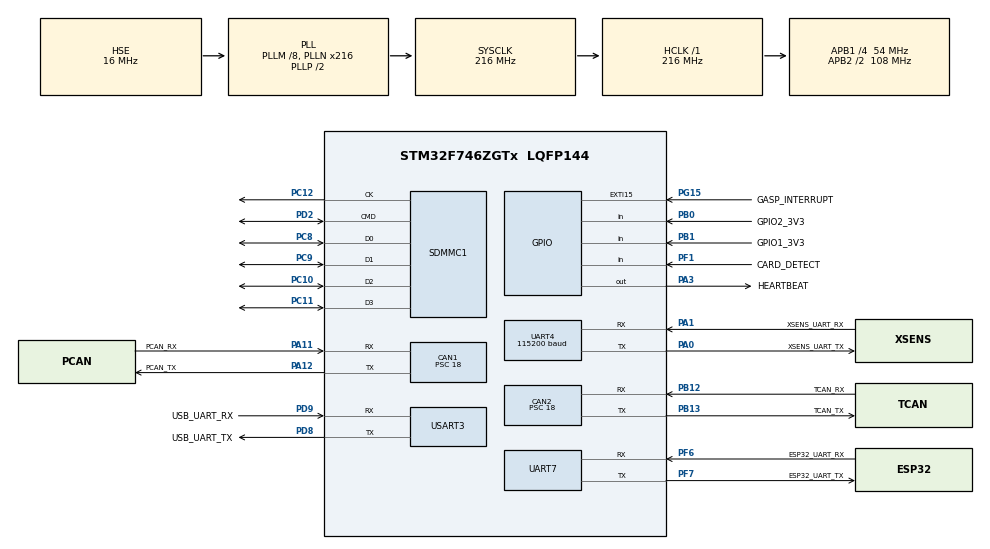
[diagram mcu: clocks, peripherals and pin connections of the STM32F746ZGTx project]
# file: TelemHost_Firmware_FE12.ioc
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CAN1.BS1=CAN_BS1_2TQ
CAN1.BS2=CAN_BS2_3TQ
CAN1.CalculateBaudRate=499999
CAN1.CalculateTimeBit=2000
CAN1.CalculateTimeQuantum=333.33333333333337
CAN1.Prescaler=18
CAN2.BS1=CAN_BS1_2TQ
CAN2.BS2=CAN_BS2_3TQ
CAN2.CalculateBaudRate=499999
CAN2.CalculateTimeBit=2000
CAN2.CalculateTimeQuantum=333.33333333333337
CAN2.Prescaler=18
Dma.Request0=SDMMC1_RX
Dma.Request1=SDMMC1_TX
Dma.Request2=UART4_RX
Dma.SDMMC1_RX.0.Direction=DMA_PERIPH_TO_MEMORY
Dma.SDMMC1_RX.0.FIFOMode=DMA_FIFOMODE_ENABLE
Dma.SDMMC1_RX.0.FIFOThreshold=DMA_FIFO_THRESHOLD_FULL
Dma.SDMMC1_RX.0.Instance=DMA2_Stream3
Dma.SDMMC1_RX.0.MemBurst=DMA_MBURST_INC4
Dma.SDMMC1_RX.0.MemDataAlignment=DMA_MDATAALIGN_WORD
Dma.SDMMC1_RX.0.MemInc=DMA_MINC_ENABLE
Dma.SDMMC1_RX.0.Mode=DMA_PFCTRL
Dma.SDMMC1_RX.0.PeriphBurst=DMA_PBURST_INC4
Dma.SDMMC1_RX.0.PeriphDataAlignment=DMA_PDATAALIGN_WORD
Dma.SDMMC1_RX.0.PeriphInc=DMA_PINC_DISABLE
Dma.SDMMC1_RX.0.Priority=DMA_PRIORITY_LOW
Dma.SDMMC1_TX.1.Direction=DMA_MEMORY_TO_PERIPH
Dma.SDMMC1_TX.1.FIFOMode=DMA_FIFOMODE_ENABLE
Dma.SDMMC1_TX.1.FIFOThreshold=DMA_FIFO_THRESHOLD_FULL
Dma.SDMMC1_TX.1.Instance=DMA2_Stream6
Dma.SDMMC1_TX.1.MemBurst=DMA_MBURST_INC4
Dma.SDMMC1_TX.1.MemDataAlignment=DMA_MDATAALIGN_WORD
Dma.SDMMC1_TX.1.MemInc=DMA_MINC_ENABLE
Dma.SDMMC1_TX.1.Mode=DMA_PFCTRL
Dma.SDMMC1_TX.1.PeriphBurst=DMA_PBURST_INC4
Dma.SDMMC1_TX.1.PeriphDataAlignment=DMA_PDATAALIGN_WORD
Dma.SDMMC1_TX.1.PeriphInc=DMA_PINC_DISABLE
Dma.SDMMC1_TX.1.Priority=DMA_PRIORITY_LOW
Dma.UART4_RX.2.Direction=DMA_PERIPH_TO_MEMORY
Dma.UART4_RX.2.FIFOMode=DMA_FIFOMODE_DISABLE
Dma.UART4_RX.2.Instance=DMA1_Stream2
Dma.UART4_RX.2.MemDataAlignment=DMA_MDATAALIGN_BYTE
Dma.UART4_RX.2.MemInc=DMA_MINC_ENABLE
Dma.UART4_RX.2.Mode=DMA_CIRCULAR
Dma.UART4_RX.2.PeriphDataAlignment=DMA_PDATAALIGN_BYTE
Dma.UART4_RX.2.PeriphInc=DMA_PINC_DISABLE
Dma.UART4_RX.2.Priority=DMA_PRIORITY_LOW
FATFS.BSP.number=1
FATFS.USE_DMA_CODE_SD=1
FATFS._MAX_SS=4096
FATFS._USE_LFN=0
FATFS0.BSP.STBoard=false
FATFS0.BSP.api=Unknown
FATFS0.BSP.instance=PF1
FATFS0.BSP.ip=GPIO
FATFS0.BSP.mode=Input
FATFS0.BSP.name=Detect_SDIO
FATFS0.BSP.solution=PF1
FREERTOS.Tasks01=DashboardMain,24,256,MainEntry,Default,NULL,Dynamic,NULL,NULL;SDCard,8,2048,SDCardEntry,Default,NULL,Dynamic,NULL,NULL
FREERTOS.configUSE_NEWLIB_REENTRANT=1
Mcu.Family=STM32F7
Mcu.Name=STM32F746ZGTx
Mcu.Package=LQFP144
NVIC.CAN1_RX0_IRQn=true\:5\:0\:false\:false\:true\:true\:true\:true\:true
NVIC.DMA1_Stream2_IRQn=true\:5\:0\:false\:false\:true\:true\:false\:true\:true
NVIC.DMA2_Stream3_IRQn=true\:5\:0\:false\:false\:true\:true\:false\:true\:true
NVIC.DMA2_Stream6_IRQn=true\:5\:0\:false\:false\:true\:true\:false\:true\:true
NVIC.EXTI15_10_IRQn=true\:5\:0\:false\:false\:true\:true\:true\:true\:true
NVIC.PriorityGroup=NVIC_PRIORITYGROUP_4
NVIC.SDMMC1_IRQn=true\:5\:0\:false\:false\:true\:true\:true\:true\:true
NVIC.TIM6_DAC_IRQn=true\:15\:0\:false\:false\:true\:false\:false\:true\:true
NVIC.TIM7_IRQn=true\:5\:0\:false\:false\:true\:true\:true\:true\:true
NVIC.TimeBase=TIM6_DAC_IRQn
NVIC.TimeBaseIP=TIM6
PA0/WKUP.GPIO_Label=XSENS_UART_TX
PA0/WKUP.Mode=Asynchronous
PA0/WKUP.Signal=UART4_TX
PA1.GPIO_Label=XSENS_UART_RX
PA1.Mode=Asynchronous
PA1.Signal=UART4_RX
PA11.GPIO_Label=PCAN_RX
PA11.Mode=CAN_Activate
PA11.Signal=CAN1_RX
PA12.GPIO_Label=PCAN_TX
PA12.Mode=CAN_Activate
PA12.Signal=CAN1_TX
PA13.Mode=Serial_Wire
PA13.Signal=SYS_JTMS-SWDIO
PA14.Mode=Serial_Wire
PA14.Signal=SYS_JTCK-SWCLK
PA3.GPIO_Label=HEARTBEAT
PA3.Signal=GPIO_Output
PB0.GPIO_Label=GPIO2_3V3
PB0.Signal=GPIO_Input
PB1.GPIO_Label=GPIO1_3V3
PB1.Signal=GPIO_Input
PB12.GPIO_Label=TCAN_RX
PB12.Mode=CAN_Activate
PB12.Signal=CAN2_RX
PB13.GPIO_Label=TCAN_TX
PB13.Mode=CAN_Activate
PB13.Signal=CAN2_TX
PC10.Mode=SD_4_bits_Wide_bus
PC10.Signal=SDMMC1_D2
PC11.Mode=SD_4_bits_Wide_bus
PC11.Signal=SDMMC1_D3
PC12.GPIO_PuPd=GPIO_PULLUP
PC12.Mode=SD_4_bits_Wide_bus
PC12.Signal=SDMMC1_CK
PC8.GPIO_PuPd=GPIO_PULLUP
PC8.Mode=SD_4_bits_Wide_bus
PC8.Signal=SDMMC1_D0
PC9.Mode=SD_4_bits_Wide_bus
PC9.Signal=SDMMC1_D1
PD2.GPIO_PuPd=GPIO_PULLUP
PD2.Mode=SD_4_bits_Wide_bus
PD2.Signal=SDMMC1_CMD
PD8.GPIO_Label=USB_UART_TX
PD8.Mode=Asynchronous
PD8.Signal=USART3_TX
PD9.GPIO_Label=USB_UART_RX
PD9.Mode=Asynchronous
PD9.Signal=USART3_RX
PF1.GPIO_Label=CARD_DETECT
PF1.Signal=GPIO_Input
PF6.GPIO_Label=ESP32_UART_RX
PF6.Mode=Asynchronous
PF6.Signal=UART7_RX
PF7.GPIO_Label=ESP32_UART_TX
PF7.Mode=Asynchronous
PF7.Signal=UART7_TX
PG15.GPIO_Label=GASP_INTERRUPT
PG15.Signal=GPXTI15
PH0/OSC_IN.Mode=HSE-External-Oscillator
PH0/OSC_IN.Signal=RCC_OSC_IN
PH1/OSC_OUT.Mode=HSE-External-Oscillator
PH1/OSC_OUT.Signal=RCC_OSC_OUT
ProjectManager.HeapSize=0x200
ProjectManager.StackSize=0x400
ProjectManager.TargetToolchain=STM32CubeIDE
RCC.AHBFreq_Value=216000000
RCC.APB1CLKDivider=RCC_HCLK_DIV4
RCC.APB1Freq_Value=54000000
RCC.APB1TimFreq_Value=108000000
RCC.APB2CLKDivider=RCC_HCLK_DIV2
RCC.APB2Freq_Value=108000000
RCC.APB2TimFreq_Value=216000000
RCC.CortexFreq_Value=216000000
RCC.HCLKFreq_Value=216000000
RCC.HSE_VALUE=16000000
RCC.HSI_VALUE=16000000
RCC.LSE_VALUE=32768
RCC.PLLM=8
RCC.PLLN=216
RCC.PLLQ=9
RCC.PLLSourceVirtual=RCC_PLLSOURCE_HSE
RCC.SDMMCClockSelection=RCC_SDMMC1CLKSOURCE_CLK48
RCC.SYSCLKFreq_VALUE=216000000
RCC.SYSCLKSource=RCC_SYSCLKSOURCE_PLLCLK
RCC.USBFreq_Value=48000000
RCC.VCOOutputFreq_Value=432000000
TIM7.Period=5000
TIM7.Prescaler=8000
UART4.BaudRate=115200
USART3.SwapParam=ADVFEATURE_SWAP_ENABLE
USART3.VirtualMode-Asynchronous=VM_ASYNC
VP_FATFS_VS_SDIO.Mode=SDIO
VP_FREERTOS_VS_CMSIS_V2.Mode=CMSIS_V2
VP_SYS_VS_tim6.Mode=TIM6
VP_TIM1_VS_ClockSourceINT.Mode=Internal
VP_TIM4_VS_ClockSourceITR.Mode=TriggerSource_ITR0
VP_TIM7_VS_ClockSourceINT.Mode=Enable_Timer
board=custom

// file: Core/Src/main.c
/* USER CODE BEGIN Header */
/**
  ******************************************************************************
  * @file           : main.c
  * @brief          : Main program body
  ******************************************************************************
  * @attention
  *
  * Copyright (c) 2024 STMicroelectronics.
  * All rights reserved.
  *
  * This software is licensed under terms that can be found in the LICENSE file
  * in the root directory of this software component.
  * If no LICENSE file comes with this software, it is provided AS-IS.
  *
  ******************************************************************************
  */
/* USER CODE END Header */
#include "main.h"
#include "cmsis_os.h"
#include "fatfs.h"

/* USER CODE BEGIN Includes */
#include "stdio.h"
#include "inttypes.h"
#include "can_manager.h"
#include "sensors.h"
#include "fsm.h"
#include "sd_card.h"
#include "wheel_speed.h"
#include "telem.h"
#include "xsens.h"
#include "serial_print.h"
#include "config.h"

/* USER CODE END Includes */

CAN_HandleTypeDef hcan1;
CAN_HandleTypeDef hcan2;

SD_HandleTypeDef hsd1;
DMA_HandleTypeDef hdma_sdmmc1_rx;
DMA_HandleTypeDef hdma_sdmmc1_tx;

TIM_HandleTypeDef htim1;
TIM_HandleTypeDef htim4;
TIM_HandleTypeDef htim7;

UART_HandleTypeDef huart4;
UART_HandleTypeDef huart7;
UART_HandleTypeDef huart3;
DMA_HandleTypeDef hdma_uart4_rx;

/* Definitions for DashboardMain */
osThreadId_t DashboardMainHandle;
const osThreadAttr_t DashboardMain_attributes = {
  .name = "DashboardMain",
  .stack_size = 256 * 4,
  .priority = (osPriority_t) osPriorityNormal,
};
/* Definitions for SDCard */
osThreadId_t SDCardHandle;
const osThreadAttr_t SDCard_attributes = {
  .name = "SDCard",
  .stack_size = 2048 * 4,
  .priority = (osPriority_t) osPriorityLow,
};
/* USER CODE BEGIN PV */

// Keeps track of timer waiting for pre-charging
volatile unsigned int precharge_timer_ms = 0;
volatile uint8_t init_fault_cleared = 0;
extern uint32_t torque_req;

/* USER CODE END PV */

void SystemClock_Config(void);
static void MX_GPIO_Init(void);
static void MX_DMA_Init(void);
static void MX_CAN2_Init(void);
static void MX_SDMMC1_SD_Init(void);
static void MX_TIM4_Init(void);
static void MX_UART4_Init(void);
static void MX_UART7_Init(void);
static void MX_CAN1_Init(void);
static void MX_USART3_UART_Init(void);
static void MX_TIM7_Init(void);
static void MX_TIM1_Init(void);
void MainEntry(void *argument);
void SDCardEntry(void *argument);

/* USER CODE BEGIN 0 */

uint8_t shutdown_closed() {
    if (estop_flags) return 0;
    return (shutdown_flags & 0b00111000) == 0b00111000;
}

void HAL_GPIO_EXTI_Callback(uint16_t GPIO_Pin) {
	if (GPIO_Pin == GASP_INTERRUPT_Pin) {
//		sd_card_close_file();
	}
}

volatile uint32_t front_right_wheel_speed;
volatile uint32_t front_left_wheel_speed;

WheelSpeedPW_t front_right_wheel_speed_t;
WheelSpeed_t front_left_wheel_speed_t;

uint16_t sg_adc;

unsigned int discrepancy_timer_ms = 0;

// TEST END

/* USER CODE END 0 */

int main(void)
{

  /* MCU Configuration--------------------------------------------------------*/

  /* Reset of all peripherals, Initializes the Flash interface and the Systick. */
  HAL_Init();

  /* Configure the system clock */
  SystemClock_Config();

  /* Initialize all configured peripherals */
  MX_GPIO_Init();
  MX_DMA_Init();
  MX_CAN2_Init();
  MX_SDMMC1_SD_Init();
  MX_TIM4_Init();
  MX_UART4_Init();
  MX_UART7_Init();
  MX_CAN1_Init();
  MX_USART3_UART_Init();
  MX_TIM7_Init();
  MX_FATFS_Init();
  MX_TIM1_Init();
  /* USER CODE BEGIN 2 */

//  mount_sd_card();

  /* USER CODE END 2 */

  /* Init scheduler */
  osKernelInitialize();

  /* Create the thread(s) */
  /* creation of DashboardMain */
  DashboardMainHandle = osThreadNew(MainEntry, NULL, &DashboardMain_attributes);

  /* creation of SDCard */
  SDCardHandle = osThreadNew(SDCardEntry, NULL, &SDCard_attributes);

  /* Start scheduler */
  osKernelStart();

  /* We should never get here as control is now taken by the scheduler */

  /* Infinite loop */
  while (1)
  {

  }
}

void SystemClock_Config(void)
{
  RCC_OscInitTypeDef RCC_OscInitStruct = {0};
  RCC_ClkInitTypeDef RCC_ClkInitStruct = {0};

  /** Configure the main internal regulator output voltage
  */
  __HAL_RCC_PWR_CLK_ENABLE();
  __HAL_PWR_VOLTAGESCALING_CONFIG(PWR_REGULATOR_VOLTAGE_SCALE1);

  /** Initializes the RCC Oscillators according to the specified parameters
  * in the RCC_OscInitTypeDef structure.
  */
  RCC_OscInitStruct.OscillatorType = RCC_OSCILLATORTYPE_HSE;
  RCC_OscInitStruct.HSEState = RCC_HSE_ON;
  RCC_OscInitStruct.PLL.PLLState = RCC_PLL_ON;
  RCC_OscInitStruct.PLL.PLLSource = RCC_PLLSOURCE_HSE;
  RCC_OscInitStruct.PLL.PLLM = 8;
  RCC_OscInitStruct.PLL.PLLN = 216;
  RCC_OscInitStruct.PLL.PLLP = RCC_PLLP_DIV2;
  RCC_OscInitStruct.PLL.PLLQ = 9;
  if (HAL_RCC_OscConfig(&RCC_OscInitStruct) != HAL_OK)
  {
    Error_Handler();
  }

  /** Activate the Over-Drive mode
  */
  if (HAL_PWREx_EnableOverDrive() != HAL_OK)
  {
    Error_Handler();
  }

  /** Initializes the CPU, AHB and APB buses clocks
  */
  RCC_ClkInitStruct.ClockType = RCC_CLOCKTYPE_HCLK|RCC_CLOCKTYPE_SYSCLK
                              |RCC_CLOCKTYPE_PCLK1|RCC_CLOCKTYPE_PCLK2;
  RCC_ClkInitStruct.SYSCLKSource = RCC_SYSCLKSOURCE_PLLCLK;
  RCC_ClkInitStruct.AHBCLKDivider = RCC_SYSCLK_DIV1;
  RCC_ClkInitStruct.APB1CLKDivider = RCC_HCLK_DIV4;
  RCC_ClkInitStruct.APB2CLKDivider = RCC_HCLK_DIV2;

  if (HAL_RCC_ClockConfig(&RCC_ClkInitStruct, FLASH_LATENCY_7) != HAL_OK)
  {
    Error_Handler();
  }
}

static void MX_CAN1_Init(void)
{

  hcan1.Instance = CAN1;
  hcan1.Init.Prescaler = 18;
  hcan1.Init.Mode = CAN_MODE_NORMAL;
  hcan1.Init.SyncJumpWidth = CAN_SJW_1TQ;
  hcan1.Init.TimeSeg1 = CAN_BS1_2TQ;
  hcan1.Init.TimeSeg2 = CAN_BS2_3TQ;
  hcan1.Init.TimeTriggeredMode = DISABLE;
  hcan1.Init.AutoBusOff = DISABLE;
  hcan1.Init.AutoWakeUp = DISABLE;
  hcan1.Init.AutoRetransmission = DISABLE;
  hcan1.Init.ReceiveFifoLocked = DISABLE;
  hcan1.Init.TransmitFifoPriority = DISABLE;
  if (HAL_CAN_Init(&hcan1) != HAL_OK)
  {
    Error_Handler();
  }
  /* USER CODE BEGIN CAN1_Init 2 */

  /*##-2- Configure the CAN Filter ###########################################*/
    CAN_FilterTypeDef canfilterconfig;

    canfilterconfig.FilterActivation = CAN_FILTER_ENABLE;
    canfilterconfig.FilterBank = 18;  // which filter bank to use from the assigned ones
    canfilterconfig.FilterFIFOAssignment = CAN_FILTER_FIFO0;
    canfilterconfig.FilterIdHigh = 0x0;
    canfilterconfig.FilterIdLow = 0x0;
    canfilterconfig.FilterMaskIdHigh = 0x0;
    canfilterconfig.FilterMaskIdLow = 0x0000;
    canfilterconfig.FilterMode = CAN_FILTERMODE_IDMASK;
    canfilterconfig.FilterScale = CAN_FILTERSCALE_32BIT;
    canfilterconfig.SlaveStartFilterBank = 20;  // how many filters to assign to the CAN1 (master can)

  	if (HAL_CAN_ConfigFilter(&hcan1, &canfilterconfig) != HAL_OK)
  	{
  	  /* Filter configuration Error */
  	  Error_Handler();
  	}

  	/*##-3- Start the CAN peripheral ###########################################*/
  	if (HAL_CAN_Start(&hcan1) != HAL_OK)
  	{
  	  /* Start Error */
  	  Error_Handler();
  	}

  	/*##-4- Activate CAN RX notification #######################################*/
  	if (HAL_CAN_ActivateNotification(&hcan1, CAN_IT_RX_FIFO0_MSG_PENDING) != HAL_OK)
  	{
  	  /* Notification Error */
  	  Error_Handler();
  	}

  /* USER CODE END CAN1_Init 2 */

}

static void MX_CAN2_Init(void)
{

  hcan2.Instance = CAN2;
  hcan2.Init.Prescaler = 18;
  hcan2.Init.Mode = CAN_MODE_NORMAL;
  hcan2.Init.SyncJumpWidth = CAN_SJW_1TQ;
  hcan2.Init.TimeSeg1 = CAN_BS1_2TQ;
  hcan2.Init.TimeSeg2 = CAN_BS2_3TQ;
  hcan2.Init.TimeTriggeredMode = DISABLE;
  hcan2.Init.AutoBusOff = DISABLE;
  hcan2.Init.AutoWakeUp = DISABLE;
  hcan2.Init.AutoRetransmission = DISABLE;
  hcan2.Init.ReceiveFifoLocked = DISABLE;
  hcan2.Init.TransmitFifoPriority = DISABLE;
  if (HAL_CAN_Init(&hcan2) != HAL_OK)
  {
    Error_Handler();
  }
  /* USER CODE BEGIN CAN2_Init 2 */

  if (HAL_CAN_Start(&hcan2) != HAL_OK) {
	  Error_Handler();
  }

  /* USER CODE END CAN2_Init 2 */

}

static void MX_SDMMC1_SD_Init(void)
{

  hsd1.Instance = SDMMC1;
  hsd1.Init.ClockEdge = SDMMC_CLOCK_EDGE_RISING;
  hsd1.Init.ClockBypass = SDMMC_CLOCK_BYPASS_DISABLE;
  hsd1.Init.ClockPowerSave = SDMMC_CLOCK_POWER_SAVE_DISABLE;
  hsd1.Init.BusWide = SDMMC_BUS_WIDE_4B;
  hsd1.Init.HardwareFlowControl = SDMMC_HARDWARE_FLOW_CONTROL_DISABLE;
  hsd1.Init.ClockDiv = 0;
  /* USER CODE BEGIN SDMMC1_Init 2 */
  hsd1.Init.BusWide = SDMMC_BUS_WIDE_1B;

  if (HAL_SD_Init(&hsd1) != HAL_OK) return;
  if (HAL_SD_ConfigWideBusOperation(&hsd1, SDMMC_BUS_WIDE_4B) != HAL_OK) return;
  /* USER CODE END SDMMC1_Init 2 */

}

static void MX_TIM1_Init(void)
{

  TIM_ClockConfigTypeDef sClockSourceConfig = {0};
  TIM_MasterConfigTypeDef sMasterConfig = {0};

  htim1.Instance = TIM1;
  htim1.Init.Prescaler = 0;
  htim1.Init.CounterMode = TIM_COUNTERMODE_UP;
  htim1.Init.Period = 65535;
  htim1.Init.ClockDivision = TIM_CLOCKDIVISION_DIV1;
  htim1.Init.RepetitionCounter = 0;
  htim1.Init.AutoReloadPreload = TIM_AUTORELOAD_PRELOAD_DISABLE;
  if (HAL_TIM_Base_Init(&htim1) != HAL_OK)
  {
    Error_Handler();
  }
  sClockSourceConfig.ClockSource = TIM_CLOCKSOURCE_INTERNAL;
  if (HAL_TIM_ConfigClockSource(&htim1, &sClockSourceConfig) != HAL_OK)
  {
    Error_Handler();
  }
  sMasterConfig.MasterOutputTrigger = TIM_TRGO_RESET;
  sMasterConfig.MasterOutputTrigger2 = TIM_TRGO2_RESET;
  sMasterConfig.MasterSlaveMode = TIM_MASTERSLAVEMODE_DISABLE;
  if (HAL_TIMEx_MasterConfigSynchronization(&htim1, &sMasterConfig) != HAL_OK)
  {
    Error_Handler();
  }

}

static void MX_TIM4_Init(void)
{

  TIM_SlaveConfigTypeDef sSlaveConfig = {0};
  TIM_MasterConfigTypeDef sMasterConfig = {0};

  htim4.Instance = TIM4;
  htim4.Init.Prescaler = 0;
  htim4.Init.CounterMode = TIM_COUNTERMODE_UP;
  htim4.Init.Period = 65535;
  htim4.Init.ClockDivision = TIM_CLOCKDIVISION_DIV1;
  htim4.Init.AutoReloadPreload = TIM_AUTORELOAD_PRELOAD_DISABLE;
  if (HAL_TIM_Base_Init(&htim4) != HAL_OK)
  {
    Error_Handler();
  }
  sSlaveConfig.SlaveMode = TIM_SLAVEMODE_DISABLE;
  sSlaveConfig.InputTrigger = TIM_TS_ITR0;
  if (HAL_TIM_SlaveConfigSynchro(&htim4, &sSlaveConfig) != HAL_OK)
  {
    Error_Handler();
  }
  sMasterConfig.MasterOutputTrigger = TIM_TRGO_RESET;
  sMasterConfig.MasterSlaveMode = TIM_MASTERSLAVEMODE_DISABLE;
  if (HAL_TIMEx_MasterConfigSynchronization(&htim4, &sMasterConfig) != HAL_OK)
  {
    Error_Handler();
  }

}

static void MX_TIM7_Init(void)
{

  TIM_MasterConfigTypeDef sMasterConfig = {0};

  htim7.Instance = TIM7;
  htim7.Init.Prescaler = 8000;
  htim7.Init.CounterMode = TIM_COUNTERMODE_UP;
  htim7.Init.Period = 5000;
  htim7.Init.AutoReloadPreload = TIM_AUTORELOAD_PRELOAD_DISABLE;
  if (HAL_TIM_Base_Init(&htim7) != HAL_OK)
  {
    Error_Handler();
  }
  sMasterConfig.MasterOutputTrigger = TIM_TRGO_RESET;
  sMasterConfig.MasterSlaveMode = TIM_MASTERSLAVEMODE_DISABLE;
  if (HAL_TIMEx_MasterConfigSynchronization(&htim7, &sMasterConfig) != HAL_OK)
  {
    Error_Handler();
  }
  /* USER CODE BEGIN TIM7_Init 2 */
  NVIC_EnableIRQ(TIM7_IRQn);

  /* USER CODE END TIM7_Init 2 */

}

static void MX_UART4_Init(void)
{

  huart4.Instance = UART4;
  huart4.Init.BaudRate = 115200;
  huart4.Init.WordLength = UART_WORDLENGTH_8B;
  huart4.Init.StopBits = UART_STOPBITS_1;
  huart4.Init.Parity = UART_PARITY_NONE;
  huart4.Init.Mode = UART_MODE_TX_RX;
  huart4.Init.HwFlowCtl = UART_HWCONTROL_NONE;
  huart4.Init.OverSampling = UART_OVERSAMPLING_16;
  huart4.Init.OneBitSampling = UART_ONE_BIT_SAMPLE_DISABLE;
  huart4.AdvancedInit.AdvFeatureInit = UART_ADVFEATURE_NO_INIT;
  if (HAL_UART_Init(&huart4) != HAL_OK)
  {
    Error_Handler();
  }

}

static void MX_UART7_Init(void)
{

  huart7.Instance = UART7;
  huart7.Init.BaudRate = 115200;
  huart7.Init.WordLength = UART_WORDLENGTH_8B;
  huart7.Init.StopBits = UART_STOPBITS_1;
  huart7.Init.Parity = UART_PARITY_NONE;
  huart7.Init.Mode = UART_MODE_TX_RX;
  huart7.Init.HwFlowCtl = UART_HWCONTROL_NONE;
  huart7.Init.OverSampling = UART_OVERSAMPLING_16;
  huart7.Init.OneBitSampling = UART_ONE_BIT_SAMPLE_DISABLE;
  huart7.AdvancedInit.AdvFeatureInit = UART_ADVFEATURE_NO_INIT;
  if (HAL_UART_Init(&huart7) != HAL_OK)
  {
    Error_Handler();
  }

}

static void MX_USART3_UART_Init(void)
{

  huart3.Instance = USART3;
  huart3.Init.BaudRate = 115200;
  huart3.Init.WordLength = UART_WORDLENGTH_8B;
  huart3.Init.StopBits = UART_STOPBITS_1;
  huart3.Init.Parity = UART_PARITY_NONE;
  huart3.Init.Mode = UART_MODE_TX_RX;
  huart3.Init.HwFlowCtl = UART_HWCONTROL_NONE;
  huart3.Init.OverSampling = UART_OVERSAMPLING_16;
  huart3.Init.OneBitSampling = UART_ONE_BIT_SAMPLE_DISABLE;
  huart3.AdvancedInit.AdvFeatureInit = UART_ADVFEATURE_SWAP_INIT;
  huart3.AdvancedInit.Swap = UART_ADVFEATURE_SWAP_ENABLE;
  if (HAL_UART_Init(&huart3) != HAL_OK)
  {
    Error_Handler();
  }

}

static void MX_DMA_Init(void)
{

  /* DMA controller clock enable */
  __HAL_RCC_DMA2_CLK_ENABLE();
  __HAL_RCC_DMA1_CLK_ENABLE();

  /* DMA interrupt init */
  /* DMA1_Stream2_IRQn interrupt configuration */
  HAL_NVIC_SetPriority(DMA1_Stream2_IRQn, 5, 0);
  HAL_NVIC_EnableIRQ(DMA1_Stream2_IRQn);
  /* DMA2_Stream3_IRQn interrupt configuration */
  HAL_NVIC_SetPriority(DMA2_Stream3_IRQn, 5, 0);
  HAL_NVIC_EnableIRQ(DMA2_Stream3_IRQn);
  /* DMA2_Stream6_IRQn interrupt configuration */
  HAL_NVIC_SetPriority(DMA2_Stream6_IRQn, 5, 0);
  HAL_NVIC_EnableIRQ(DMA2_Stream6_IRQn);

}

static void MX_GPIO_Init(void)
{
  GPIO_InitTypeDef GPIO_InitStruct = {0};

  /* GPIO Ports Clock Enable */
  __HAL_RCC_GPIOF_CLK_ENABLE();
  __HAL_RCC_GPIOH_CLK_ENABLE();
  __HAL_RCC_GPIOA_CLK_ENABLE();
  __HAL_RCC_GPIOB_CLK_ENABLE();
  __HAL_RCC_GPIOD_CLK_ENABLE();
  __HAL_RCC_GPIOC_CLK_ENABLE();
  __HAL_RCC_GPIOG_CLK_ENABLE();

  /*Configure GPIO pin Output Level */
  HAL_GPIO_WritePin(HEARTBEAT_GPIO_Port, HEARTBEAT_Pin, GPIO_PIN_RESET);

  /*Configure GPIO pin : CARD_DETECT_Pin */
  GPIO_InitStruct.Pin = CARD_DETECT_Pin;
  GPIO_InitStruct.Mode = GPIO_MODE_INPUT;
  GPIO_InitStruct.Pull = GPIO_NOPULL;
  HAL_GPIO_Init(CARD_DETECT_GPIO_Port, &GPIO_InitStruct);

  /*Configure GPIO pin : HEARTBEAT_Pin */
  GPIO_InitStruct.Pin = HEARTBEAT_Pin;
  GPIO_InitStruct.Mode = GPIO_MODE_OUTPUT_PP;
  GPIO_InitStruct.Pull = GPIO_NOPULL;
  GPIO_InitStruct.Speed = GPIO_SPEED_FREQ_LOW;
  HAL_GPIO_Init(HEARTBEAT_GPIO_Port, &GPIO_InitStruct);

  /*Configure GPIO pins : GPIO2_3V3_Pin GPIO1_3V3_Pin */
  GPIO_InitStruct.Pin = GPIO2_3V3_Pin|GPIO1_3V3_Pin;
  GPIO_InitStruct.Mode = GPIO_MODE_INPUT;
  GPIO_InitStruct.Pull = GPIO_NOPULL;
  HAL_GPIO_Init(GPIOB, &GPIO_InitStruct);

  /*Configure GPIO pin : GASP_INTERRUPT_Pin */
  GPIO_InitStruct.Pin = GASP_INTERRUPT_Pin;
  GPIO_InitStruct.Mode = GPIO_MODE_IT_RISING;
  GPIO_InitStruct.Pull = GPIO_NOPULL;
  HAL_GPIO_Init(GASP_INTERRUPT_GPIO_Port, &GPIO_InitStruct);

  /* EXTI interrupt init*/
  HAL_NVIC_SetPriority(EXTI15_10_IRQn, 5, 0);
  HAL_NVIC_EnableIRQ(EXTI15_10_IRQn);

}

void MainEntry(void *argument)
{
  /* USER CODE BEGIN 5 */

  /* Infinite loop */
  for(;;)
  {

	// send data to ESP32
	telem_send();
	//write_rx_to_sd();

	 uint8_t test_data[8];
	 test_data[0] = 1;
	 test_data[1] = 2;
	 test_data[2] = 3;
	 test_data[3] = 4;
	 test_data[4] = 5;
	 test_data[5] = 6;
	 test_data[6] = 7;
	 test_data[7] = 8;
	 CAN_Send(&hcan1, 0x0f, test_data, 8); //TODO REMOVE LATER
	 CAN_Send(&hcan2, 0x0f, test_data, 8);
	 HAL_Delay(10);
//	 sd_card_write_data(0x01, test_data);

	//print("USB alive!\n");
	HAL_UART_Transmit(&huart3, test_data, 8, 1000);

	Xsens_Update(&huart4);

	osDelay(10);
	HAL_GPIO_TogglePin(HEARTBEAT_GPIO_Port, HEARTBEAT_Pin);
  }

  // In case we accidentally leave the infinite loop
  osThreadTerminate(osThreadGetId());
  /* USER CODE END 5 */
}

void SDCardEntry(void *argument)
{
  /* USER CODE BEGIN SDCardEntry */

	sd_card_mount_result_t res = sd_card_mount();
	if (res != SD_CARD_MOUNT_RESULT_SUCCESS) {
		// FAILED TO MOUNT SD CARD!
		osThreadTerminate(osThreadGetId());
	}

	/* Infinite loop */
	while (1)
	{
		osDelay(5);
//		HAL_GPIO_TogglePin(HEARTBEAT_GPIO_Port, HEARTBEAT_Pin);
//		static uint8_t n = 0;
//		uint8_t d[] = { 0, 0, 0, 0, 0, 0, 0, n };
//		sd_card_write_data(0x12345678, d);
//		n++;
		sd_card_update_async();
	}

	/* In case we accidentally leave the infinite loop */
	sd_card_flush();
	osThreadTerminate(osThreadGetId());
  /* USER CODE END SDCardEntry */
}

void HAL_TIM_PeriodElapsedCallback(TIM_HandleTypeDef *htim)
{
  /* USER CODE BEGIN Callback 0 */
	if (htim->Instance == TIM7) {

	}
  /* USER CODE END Callback 0 */
  if (htim->Instance == TIM6) {
    HAL_IncTick();
  }
}

void Error_Handler(void)
{
  __disable_irq();
  while (1)
  {
  }
}
